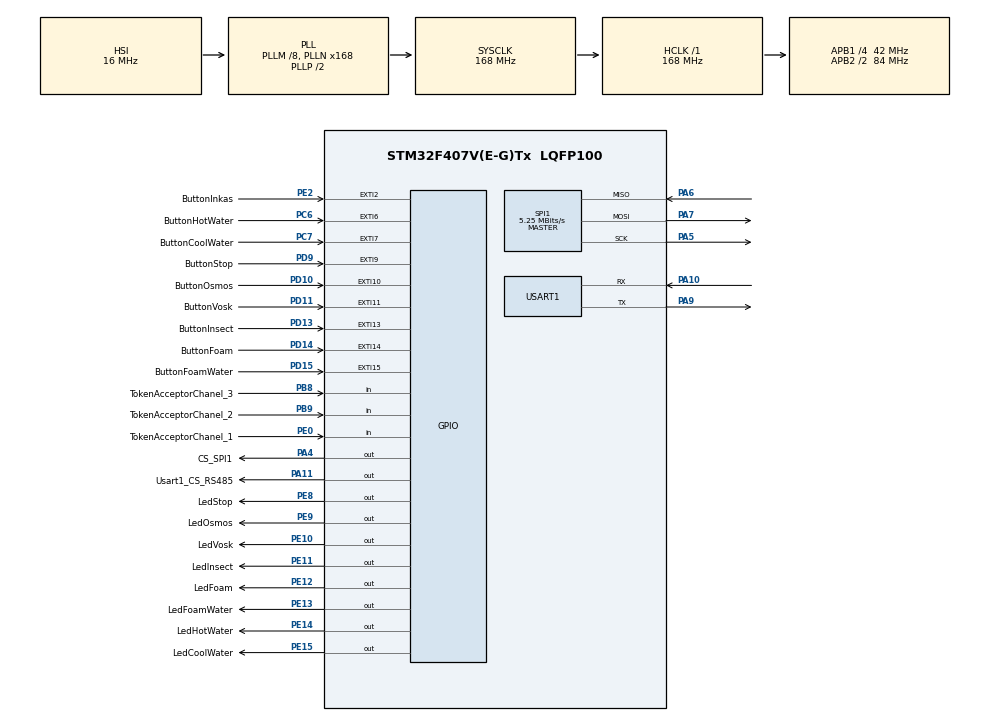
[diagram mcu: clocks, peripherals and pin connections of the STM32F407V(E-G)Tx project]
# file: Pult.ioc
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FREERTOS.Tasks01=MainTask,24,256,StartDefaultTask,Default,NULL,Dynamic,NULL,NULL;JettonAcceptor,8,256,StartTask02,Default,NULL,Dynamic,NULL,NULL
FREERTOS.configTOTAL_HEAP_SIZE=45000
Mcu.Family=STM32F4
Mcu.Name=STM32F407V(E-G)Tx
Mcu.Package=LQFP100
NVIC.EXTI15_10_IRQn=true\:5\:0\:false\:false\:true\:true\:true\:true\:true
NVIC.EXTI2_IRQn=true\:5\:0\:false\:false\:true\:true\:true\:true\:true
NVIC.EXTI9_5_IRQn=true\:5\:0\:false\:false\:true\:true\:true\:true\:true
NVIC.PriorityGroup=NVIC_PRIORITYGROUP_4
NVIC.SPI1_IRQn=true\:5\:0\:false\:false\:true\:true\:true\:true\:true
NVIC.TIM7_IRQn=true\:15\:0\:false\:false\:true\:false\:false\:true\:true
NVIC.TimeBase=TIM7_IRQn
NVIC.TimeBaseIP=TIM7
NVIC.USART1_IRQn=true\:6\:0\:true\:false\:true\:true\:true\:true\:true
PA10.Mode=Asynchronous
PA10.Signal=USART1_RX
PA11.GPIO_Label=Usart1_CS_RS485
PA11.GPIO_Speed=GPIO_SPEED_FREQ_VERY_HIGH
PA11.Signal=GPIO_Output
PA13.Mode=Serial_Wire
PA13.Signal=SYS_JTMS-SWDIO
PA14.Mode=Serial_Wire
PA14.Signal=SYS_JTCK-SWCLK
PA4.GPIO_Label=CS_SPI1
PA4.GPIO_Speed=GPIO_SPEED_FREQ_VERY_HIGH
PA4.PinState=GPIO_PIN_SET
PA4.Signal=GPIO_Output
PA5.Mode=Full_Duplex_Master
PA5.Signal=SPI1_SCK
PA6.Mode=Full_Duplex_Master
PA6.Signal=SPI1_MISO
PA7.Mode=Full_Duplex_Master
PA7.Signal=SPI1_MOSI
PA9.Mode=Asynchronous
PA9.Signal=USART1_TX
PB8.GPIO_Label=TokenAcceptorChanel_3
PB8.GPIO_PuPd=GPIO_PULLUP
PB8.Signal=GPIO_Input
PB9.GPIO_Label=TokenAcceptorChanel_2
PB9.GPIO_PuPd=GPIO_PULLUP
PB9.Signal=GPIO_Input
PC6.GPIO_Label=ButtonHotWater
PC6.GPIO_ModeDefaultEXTI=GPIO_MODE_IT_FALLING
PC6.GPIO_PuPd=GPIO_PULLUP
PC6.Signal=GPXTI6
PC7.GPIO_Label=ButtonCoolWater
PC7.GPIO_ModeDefaultEXTI=GPIO_MODE_IT_FALLING
PC7.GPIO_PuPd=GPIO_PULLUP
PC7.Signal=GPXTI7
PD10.GPIO_Label=ButtonOsmos
PD10.GPIO_ModeDefaultEXTI=GPIO_MODE_IT_FALLING
PD10.GPIO_PuPd=GPIO_PULLUP
PD10.Signal=GPXTI10
PD11.GPIO_Label=ButtonVosk
PD11.GPIO_ModeDefaultEXTI=GPIO_MODE_IT_FALLING
PD11.GPIO_PuPd=GPIO_PULLUP
PD11.Signal=GPXTI11
PD13.GPIO_Label=ButtonInsect
PD13.GPIO_ModeDefaultEXTI=GPIO_MODE_IT_FALLING
PD13.GPIO_PuPd=GPIO_PULLUP
PD13.Signal=GPXTI13
PD14.GPIO_Label=ButtonFoam
PD14.GPIO_ModeDefaultEXTI=GPIO_MODE_IT_FALLING
PD14.GPIO_PuPd=GPIO_PULLUP
PD14.Signal=GPXTI14
PD15.GPIO_Label=ButtonFoamWater
PD15.GPIO_ModeDefaultEXTI=GPIO_MODE_IT_FALLING
PD15.GPIO_PuPd=GPIO_PULLUP
PD15.Signal=GPXTI15
PD9.GPIO_Label=ButtonStop
PD9.GPIO_ModeDefaultEXTI=GPIO_MODE_IT_FALLING
PD9.GPIO_PuPd=GPIO_PULLUP
PD9.Signal=GPXTI9
PE0.GPIO_Label=TokenAcceptorChanel_1
PE0.GPIO_PuPd=GPIO_PULLUP
PE0.Signal=GPIO_Input
PE10.GPIO_Label=LedVosk
PE10.Signal=GPIO_Output
PE11.GPIO_Label=LedInsect
PE11.Signal=GPIO_Output
PE12.GPIO_Label=LedFoam
PE12.Signal=GPIO_Output
PE13.GPIO_Label=LedFoamWater
PE13.Signal=GPIO_Output
PE14.GPIO_Label=LedHotWater
PE14.Signal=GPIO_Output
PE15.GPIO_Label=LedCoolWater
PE15.Signal=GPIO_Output
PE2.GPIO_Label=ButtonInkas
PE2.GPIO_ModeDefaultEXTI=GPIO_MODE_IT_FALLING
PE2.GPIO_PuPd=GPIO_PULLUP
PE2.Signal=GPXTI2
PE8.GPIO_Label=LedStop
PE8.Signal=GPIO_Output
PE9.GPIO_Label=LedOsmos
PE9.Signal=GPIO_Output
ProjectManager.HeapSize=0x200
ProjectManager.StackSize=0x400
ProjectManager.TargetToolchain=STM32CubeIDE
RCC.48MHZClocksFreq_Value=84000000
RCC.AHBFreq_Value=168000000
RCC.APB1CLKDivider=RCC_HCLK_DIV4
RCC.APB1Freq_Value=42000000
RCC.APB1TimFreq_Value=84000000
RCC.APB2CLKDivider=RCC_HCLK_DIV2
RCC.APB2Freq_Value=84000000
RCC.APB2TimFreq_Value=168000000
RCC.CortexFreq_Value=168000000
RCC.HCLKFreq_Value=168000000
RCC.HSE_VALUE=25000000
RCC.HSI_VALUE=16000000
RCC.LSE_VALUE=32768
RCC.PLLM=8
RCC.PLLN=168
RCC.SYSCLKFreq_VALUE=168000000
RCC.SYSCLKSource=RCC_SYSCLKSOURCE_PLLCLK
RCC.VCOOutputFreq_Value=336000000
SPI1.BaudRatePrescaler=SPI_BAUDRATEPRESCALER_16
SPI1.CRCCalculation=SPI_CRCCALCULATION_DISABLE
SPI1.CalculateBaudRate=5.25 MBits/s
SPI1.DataSize=SPI_DATASIZE_8BIT
SPI1.Direction=SPI_DIRECTION_2LINES
SPI1.Mode=SPI_MODE_MASTER
SPI1.VirtualType=VM_MASTER
USART1.VirtualMode=VM_ASYNC
VP_FREERTOS_VS_CMSIS_V2.Mode=CMSIS_V2
VP_SYS_VS_tim7.Mode=TIM7
board=custom

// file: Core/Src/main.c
/* USER CODE BEGIN Header */
/**
  ******************************************************************************
  * @file           : main.c
  * @brief          : Main program body
  ******************************************************************************
  * @attention
  *
  * Copyright (c) 2022 STMicroelectronics.
  * All rights reserved.
  *
  * This software is licensed under terms that can be found in the LICENSE file
  * in the root directory of this software component.
  * If no LICENSE file comes with this software, it is provided AS-IS.
  *
  ******************************************************************************
  */
/* USER CODE END Header */
#include "main.h"
#include "cmsis_os.h"
#include "spi.h"
#include "usart.h"
#include "gpio.h"

void SystemClock_Config(void);
void MX_FREERTOS_Init(void);

int main(void)
{

  /* MCU Configuration--------------------------------------------------------*/

  /* Reset of all peripherals, Initializes the Flash interface and the Systick. */
  HAL_Init();

  /* Configure the system clock */
  SystemClock_Config();

  /* Initialize all configured peripherals */
  MX_GPIO_Init();
  MX_USART1_UART_Init();
  MX_SPI1_Init();

  /* Init scheduler */
  osKernelInitialize();  /* Call init function for freertos objects (in freertos.c) */
  MX_FREERTOS_Init();

  /* Start scheduler */
  osKernelStart();

  /* We should never get here as control is now taken by the scheduler */
  /* Infinite loop */
  while (1)
  {

  }
}

void SystemClock_Config(void)
{
  RCC_OscInitTypeDef RCC_OscInitStruct = {0};
  RCC_ClkInitTypeDef RCC_ClkInitStruct = {0};

  /** Configure the main internal regulator output voltage
  */
  __HAL_RCC_PWR_CLK_ENABLE();
  __HAL_PWR_VOLTAGESCALING_CONFIG(PWR_REGULATOR_VOLTAGE_SCALE1);

  /** Initializes the RCC Oscillators according to the specified parameters
  * in the RCC_OscInitTypeDef structure.
  */
  RCC_OscInitStruct.OscillatorType = RCC_OSCILLATORTYPE_HSI;
  RCC_OscInitStruct.HSIState = RCC_HSI_ON;
  RCC_OscInitStruct.HSICalibrationValue = RCC_HSICALIBRATION_DEFAULT;
  RCC_OscInitStruct.PLL.PLLState = RCC_PLL_ON;
  RCC_OscInitStruct.PLL.PLLSource = RCC_PLLSOURCE_HSI;
  RCC_OscInitStruct.PLL.PLLM = 8;
  RCC_OscInitStruct.PLL.PLLN = 168;
  RCC_OscInitStruct.PLL.PLLP = RCC_PLLP_DIV2;
  RCC_OscInitStruct.PLL.PLLQ = 4;
  if (HAL_RCC_OscConfig(&RCC_OscInitStruct) != HAL_OK)
  {
    Error_Handler();
  }

  /** Initializes the CPU, AHB and APB buses clocks
  */
  RCC_ClkInitStruct.ClockType = RCC_CLOCKTYPE_HCLK|RCC_CLOCKTYPE_SYSCLK
                              |RCC_CLOCKTYPE_PCLK1|RCC_CLOCKTYPE_PCLK2;
  RCC_ClkInitStruct.SYSCLKSource = RCC_SYSCLKSOURCE_PLLCLK;
  RCC_ClkInitStruct.AHBCLKDivider = RCC_SYSCLK_DIV1;
  RCC_ClkInitStruct.APB1CLKDivider = RCC_HCLK_DIV4;
  RCC_ClkInitStruct.APB2CLKDivider = RCC_HCLK_DIV2;

  if (HAL_RCC_ClockConfig(&RCC_ClkInitStruct, FLASH_LATENCY_5) != HAL_OK)
  {
    Error_Handler();
  }
}

void HAL_TIM_PeriodElapsedCallback(TIM_HandleTypeDef *htim)
{
  if (htim->Instance == TIM7) {
    HAL_IncTick();
  }
}

void Error_Handler(void)
{
  __disable_irq();
  while (1)
  {
  }
}

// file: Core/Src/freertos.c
/* USER CODE BEGIN Header */
/**
  ******************************************************************************
  * File Name          : freertos.c
  * Description        : Code for freertos applications
  ******************************************************************************
  * @attention
  *
  * Copyright (c) 2022 STMicroelectronics.
  * All rights reserved.
  *
  * This software is licensed under terms that can be found in the LICENSE file
  * in the root directory of this software component.
  * If no LICENSE file comes with this software, it is provided AS-IS.
  *
  ******************************************************************************
  */
/* USER CODE END Header */

#include "FreeRTOS.h"
#include "task.h"
#include "main.h"
#include "cmsis_os.h"

/* USER CODE BEGIN Includes */
#include <string.h>
#include "usart.h"
#include "GlobalSettings.h"
#include "Crc16.h"
#include "SortingRequests.h"
#include "Display.h"
/* USER CODE END Includes */

/* USER CODE BEGIN Variables */
extern uint8_t tx_usart1_data[BUF_LEN];
extern uint8_t rx_usart1_data[BUF_LEN];
bool jettonChanel_1 = false;
bool jettonChanel_2 = false;
bool jettonChanel_3 = false;
bool lockCoinAcceptorFlag = false;
uint8_t messageCounter;
/* USER CODE END Variables */
/* Definitions for MainTask */
osThreadId_t MainTaskHandle;
const osThreadAttr_t MainTask_attributes = {
  .name = "MainTask",
  .stack_size = 256 * 4,
  .priority = (osPriority_t) osPriorityNormal,
};
/* Definitions for JettonAcceptor */
osThreadId_t JettonAcceptorHandle;
const osThreadAttr_t JettonAcceptor_attributes = {
  .name = "JettonAcceptor",
  .stack_size = 256 * 4,
  .priority = (osPriority_t) osPriorityLow,
};

void StartDefaultTask(void *argument);
void StartTask02(void *argument);

void MX_FREERTOS_Init(void); /* (MISRA C 2004 rule 8.1) */

void MX_FREERTOS_Init(void) {
  /* USER CODE BEGIN Init */
    HAL_UART_Receive_IT(&huart1, rx_usart1_data, RECEIV_LEN);
    DisplayInit();
  /* USER CODE END Init */

  /* Create the thread(s) */
  /* creation of MainTask */
  MainTaskHandle = osThreadNew(StartDefaultTask, NULL, &MainTask_attributes);

  /* creation of JettonAcceptor */
  JettonAcceptorHandle = osThreadNew(StartTask02, NULL, &JettonAcceptor_attributes);

}

void StartDefaultTask(void *argument)
{
  /* USER CODE BEGIN StartDefaultTask */
  // Основной поток.
    /*
           * Формат сообщений
           * [0] = [адрес ведущего 1 байт]
           * [1] = [адрес ведомого 1 байт]
           * [2] = [команда 1 байт]
           * [3] = [Номер сообщения 1 байт]
           * [4] = [длина сообщения 1 байт]
           * [5] = [данные 0-251 байт]
           * [6-7] = [CRC16-2 байта]
           */
    osDelay(2000);
    DisplayNumber(711);
    /* Infinite loop */
    for(;;)
    {
        if(RECEIV_LEN - huart1.RxXferCount != 0)
        {
            if(rx_usart1_data[0] == MASTER_ADDRESS &&
               rx_usart1_data[1] == PULT_BLOCK_ADDRESS &&
               rx_usart1_data[4] == RECEIV_LEN - huart1.RxXferCount)
            {
                if(CompareCrc16(rx_usart1_data) == 1)
                {
                    IncomingRequest(rx_usart1_data);
                }

                memset(rx_usart1_data, 0, sizeof(rx_usart1_data)); // очистка массива
                HAL_UART_AbortReceive(&huart1); //отключение прерываний для входящих данных
                HAL_UART_Receive_IT(&huart1, rx_usart1_data, RECEIV_LEN); //включение прерываний для входящих данных
            } else
            {
                memset(rx_usart1_data, 0, sizeof(rx_usart1_data)); // очистка массива
                HAL_UART_AbortReceive(&huart1); //отключение прерываний для входящих данных
                HAL_UART_Receive_IT(&huart1, rx_usart1_data, RECEIV_LEN); //включение прерываний для входящих данных
            }
        }

        osDelay(30);
    }
  /* USER CODE END StartDefaultTask */
}

void StartTask02(void *argument)
{
  /* USER CODE BEGIN StartTask02 */
  // Поток опрашивает монетоприемник.
    /* Infinite loop */
    for(;;)
    {
        if(!lockCoinAcceptorFlag) // если флаг сброшен, то опрашиваем монетоприемник.
        {
            if(HAL_GPIO_ReadPin(TokenAcceptorChanel_1_GPIO_Port, TokenAcceptorChanel_1_Pin) == GPIO_PIN_RESET)
                jettonChanel_1 = true;
            if(HAL_GPIO_ReadPin(TokenAcceptorChanel_2_GPIO_Port, TokenAcceptorChanel_2_Pin) == GPIO_PIN_RESET)
                jettonChanel_2 = true;
            if(HAL_GPIO_ReadPin(TokenAcceptorChanel_3_GPIO_Port, TokenAcceptorChanel_3_Pin) == GPIO_PIN_RESET)
                jettonChanel_3 = true;
        }

        osDelay(10);
    }
  /* USER CODE END StartTask02 */
}
